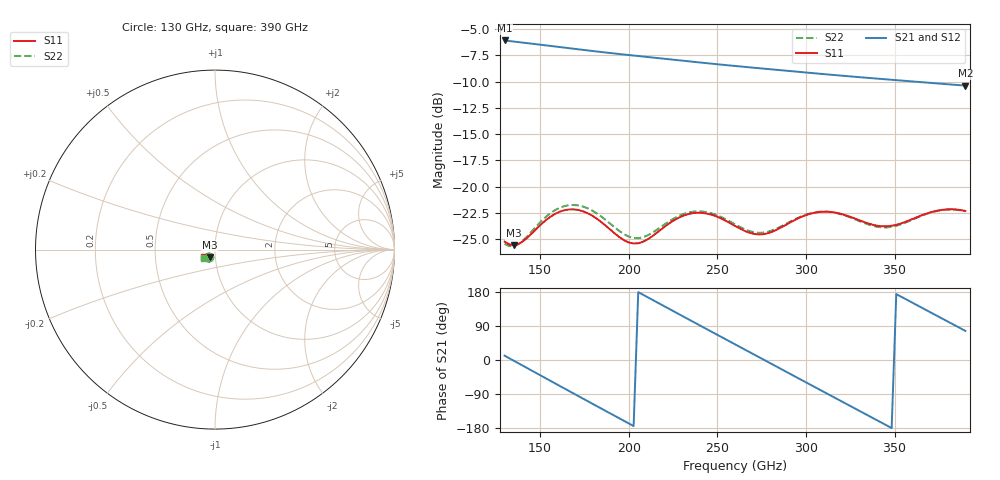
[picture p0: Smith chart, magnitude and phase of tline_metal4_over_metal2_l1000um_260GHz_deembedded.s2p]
! Created with skrf 2.2.0 (http://scikit-rf.org).
# GHz S DB R 50.0
! Port[1] = P1
! Port[2] = P2
!freq dBS11 angS11 dBS21 angS21 dBS12 angS12 dBS22 angS22
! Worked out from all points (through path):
!   101 points, 130 GHz to 390 GHz, reference 50 ohm
!   highest |S21| = -6.07 dB at 130 GHz (marker M1); lowest = -10.4 dB at 390 GHz (marker M2)
!   group delay of S21, straight-line fit = 6.99 ps
!   lowest |S11| = -25.6 dB at 135.2 GHz (marker M3), VSWR 1.11, Z = 46.9 - j4.05 ohm
!   |S11| at or under -10 dB: start of sweep to end of sweep
!   |S22| runs from -25.7 to -21.8 dB; largest |S21 - S12| = 8.1e-14
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130  -25.25 -131.8  -6.07 11.4  -6.07 11.4  -25.46 -128.6
135.2  -25.58 -125.1  -6.18 -1.9  -6.18 -1.9  -25.68 -120.9
145.6  -24.42 -115.8  -6.38 -28.7  -6.38 -28.7  -24.22 -111.6
156  -22.86 -118.7  -6.59 -55.4  -6.59 -55.4  -22.52 -115.2
166.4  -22.18 -127.7  -6.81 -82.0  -6.81 -82.0  -21.77 -124.9
174.2  -22.35 -135.0  -6.97 -101.8  -6.97 -101.8  -21.90 -132.5
187.2  -23.75 -142.4  -7.22 -134.8  -7.22 -134.8  -23.21 -140.8
197.6  -25.14 -139.1  -7.42 -161.2  -7.42 -161.2  -24.56 -138.8
208  -25.27 -129.4  -7.60 172.5  -7.60 172.5  -24.84 -130.3
218.4  -24.07 -124.8  -7.78 146.2  -7.78 146.2  -23.82 -125.8
228.8  -22.92 -128.1  -7.97 119.9  -7.97 119.9  -22.76 -128.6
239.2  -22.49 -134.9  -8.15 93.7  -8.15 93.7  -22.36 -135.1
249.6  -22.85 -141.3  -8.33 67.5  -8.33 67.5  -22.71 -141.3
260  -23.75 -143.6  -8.50 41.4  -8.50 41.4  -23.59 -143.6
270.4  -24.50 -139.9  -8.67 15.3  -8.67 15.3  -24.35 -140.0
280.8  -24.32 -133.6  -8.83 -10.7  -8.83 -10.7  -24.19 -134.0
304.2  -22.52 -135.6  -9.19 -69.3  -9.19 -69.3  -22.49 -135.9
322.4  -22.73 -143.9  -9.46 -114.8  -9.46 -114.8  -22.77 -144.0
335.4  -23.53 -144.3  -9.64 -147.2  -9.64 -147.2  -23.62 -144.0
348.4  -23.74 -139.4  -9.82 -179.6  -9.82 -179.6  -23.84 -138.5
371.8  -22.39 -138.8  -10.14 122.1  -10.14 122.1  -22.41 -137.4
390  -22.32 -146.1  -10.38 76.8  -10.38 76.8  -22.36 -144.6
